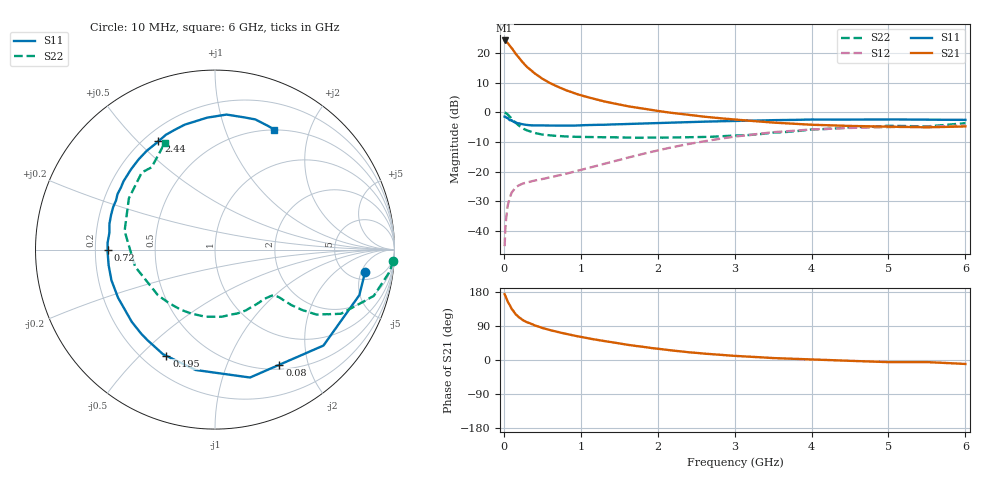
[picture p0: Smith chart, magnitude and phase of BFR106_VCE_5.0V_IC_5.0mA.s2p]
! Infineon Technologies  Discrete & RF Semiconductors
! BFR106
! VCE =  5.0 V,  IC =  5.0 mA
! Common Emitter S-Parameters:  Nov 2015
# GHz  S  MA  R  50
!  f  S11  S21  S12  S22
! GHz  MAG  ANG  MAG  ANG  MAG  ANG  MAG  ANG
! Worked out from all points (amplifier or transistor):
!   210 points, 10 MHz to 6 GHz, reference 50 ohm
!   highest |S21| = 24.2 dB at 10 MHz (marker M1)
!   |S21| within 3 dB of that: start of sweep to 114.4 MHz
!   unconditionally stable (mu >= 1): 627.5 MHz to 1.883 GHz; 4.763 GHz to end of sweep
!   at 185 MHz: K = 0.38, MSG = 21.7 dB, |S12| = -24.7 dB
!   at 1.52 GHz: K = 1.10, MAG = 7.3 dB, |S12| = -15.9 dB
!   at 6 GHz: K = 1.02, MAG = -1.0 dB, |S12| = -4.4 dB
!   S11 on the Smith chart (normalised r, x): 10 MHz: 6.65, -5.89; 80 MHz: 0.56, -1.56; 195 MHz: 0.29, -0.60; 720 MHz: 0.25, -0.00; 2.44 GHz: 0.26, +0.58; 6 GHz: 0.50, +1.49
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0.01  0.8454 -8.6  16.13 173.9  0.0056 86.2  0.9933 -3.6
0.02  0.8434 -17.5  15.9 169.2  0.0113 81.0  0.9824 -7.0
0.05  0.8068 -41.5  14.64 154.0  0.0267 69.5  0.9211 -16.3
0.08  0.7349 -60.8  12.99 143.6  0.037 59.7  0.8374 -22.3
0.1  0.7389 -74.7  12.18 135.3  0.0443 55.8  0.7876 -27.0
0.15  0.6794 -99.1  9.785 121.1  0.0544 45.9  0.6722 -32.6
0.195  0.651 -114.6  8.266 113.2  0.0589 42.7  0.5996 -34.5
0.24  0.6294 -126.7  7.034 106.4  0.0627 40.1  0.5439 -35.6
0.26  0.6233 -131.3  6.579 103.8  0.064 39.5  0.5248 -36.0
0.3  0.6141 -139.0  5.8 99.6  0.066 39.3  0.4961 -36.3
0.4  0.6031 -153.5  4.512 91.4  0.0711 39.9  0.4485 -36.6
0.5  0.6018 -163.5  3.666 84.5  0.0753 42.3  0.4219 -37.3
0.6  0.599 -171.7  3.098 78.8  0.0803 44.9  0.4083 -38.9
0.72  0.5982 -179.6  2.625 72.9  0.0868 48.4  0.398 -41.5
1.02  0.6061 165.3  1.9 60.2  0.1086 56.7  0.3845 -49.5
1.4  0.6251 150.3  1.431 47.0  0.1461 62.5  0.3799 -63.0
2.02  0.6591 129.8  1.045 29.3  0.2313 62.5  0.3742 -89.8
2.44  0.6807 117.6  0.894 19.8  0.2988 58.1  0.38 -111.4
3.1  0.7185 101.5  0.736 9.8  0.4029 46.8  0.4092 -147.2
4.1  0.7541 83.8  0.611 0.7  0.5196 26.8  0.5181 164.3
5.1  0.757 71.7  0.572 -5.6  0.5653 10.1  0.5893 132.3
6  0.7452 63.7  0.578 -10.4  0.6009 -1.4  0.655 115.4
